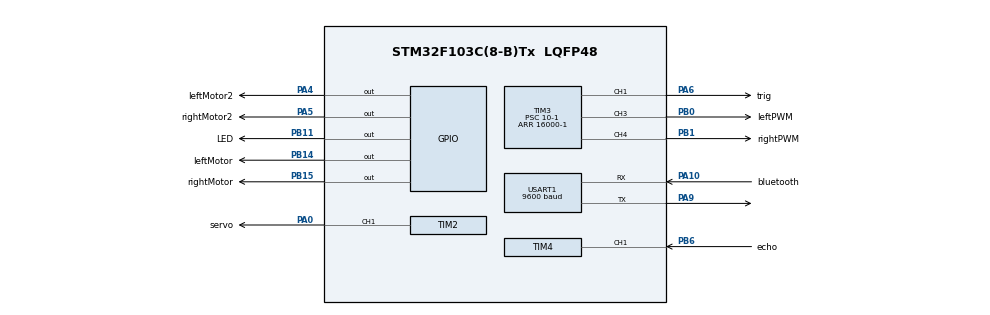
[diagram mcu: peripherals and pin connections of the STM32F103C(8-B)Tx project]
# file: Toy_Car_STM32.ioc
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FREERTOS.HEAP_NUMBER=1
FREERTOS.Tasks01=defaultTask,0,128,StartDefaultTask,Default,NULL,Dynamic,NULL,NULL;Task_Main,0,128,StartTaskMain,Default,NULL,Dynamic,NULL,NULL;Task_Blink,0,128,StartTaskBlink,Default,NULL,Dynamic,NULL,NULL;Task_Motion,0,128,StartTaskMotion,Default,NULL,Dynamic,NULL,NULL
FREERTOS.configUSE_NEWLIB_REENTRANT=1
Mcu.Family=STM32F1
Mcu.Name=STM32F103C(8-B)Tx
Mcu.Package=LQFP48
NVIC.PriorityGroup=NVIC_PRIORITYGROUP_4
PA0-WKUP.GPIO_Label=servo
PA0-WKUP.Signal=S_TIM2_CH1_ETR
PA10.GPIO_Label=bluetooth
PA10.Mode=Asynchronous
PA10.Signal=USART1_RX
PA13.Mode=Serial_Wire
PA13.Signal=SYS_JTMS-SWDIO
PA14.Mode=Serial_Wire
PA14.Signal=SYS_JTCK-SWCLK
PA4.GPIO_Label=leftMotor2
PA4.Signal=GPIO_Output
PA5.GPIO_Label=rightMotor2
PA5.Signal=GPIO_Output
PA6.GPIO_Label=trig
PA6.Signal=S_TIM3_CH1
PA9.Mode=Asynchronous
PA9.Signal=USART1_TX
PB0.GPIO_Label=leftPWM
PB0.Signal=S_TIM3_CH3
PB1.GPIO_Label=rightPWM
PB1.Signal=S_TIM3_CH4
PB11.GPIO_Label=LED
PB11.Signal=GPIO_Output
PB14.GPIO_Label=leftMotor
PB14.Signal=GPIO_Output
PB15.GPIO_Label=rightMotor
PB15.Signal=GPIO_Output
PB6.GPIO_Label=echo
PB6.Signal=S_TIM4_CH1
ProjectManager.HeapSize=0x200
ProjectManager.StackSize=0x400
ProjectManager.TargetToolchain=STM32CubeIDE
RCC.APB1Freq_Value=8000000
RCC.APB2Freq_Value=8000000
SH.S_TIM2_CH1_ETR.0=TIM2_CH1,PWM Generation1 CH1
SH.S_TIM3_CH1.0=TIM3_CH1,PWM Generation1 CH1
SH.S_TIM3_CH3.0=TIM3_CH3,PWM Generation3 CH3
SH.S_TIM3_CH4.0=TIM3_CH4,PWM Generation4 CH4
SH.S_TIM4_CH1.0=TIM4_CH1,PWM_Input_1
TIM2.AutoReloadPreload=TIM_AUTORELOAD_PRELOAD_ENABLE
TIM2.Channel-PWM\ Generation1\ CH1=TIM_CHANNEL_1
TIM2.Period=16000-1
TIM2.Prescaler=10-1
TIM2.Pulse-PWM\ Generation1\ CH1=MID_POS
TIM3.AutoReloadPreload=TIM_AUTORELOAD_PRELOAD_ENABLE
TIM3.Channel-PWM\ Generation1\ CH1=TIM_CHANNEL_1
TIM3.Channel-PWM\ Generation3\ CH3=TIM_CHANNEL_3
TIM3.Channel-PWM\ Generation4\ CH4=TIM_CHANNEL_4
TIM3.Period=16000-1
TIM3.Prescaler=10-1
TIM3.Pulse-PWM\ Generation1\ CH1=12
TIM3.Pulse-PWM\ Generation3\ CH3=NO_SPEED
TIM3.Pulse-PWM\ Generation4\ CH4=NO_SPEED
TIM4.AutoReloadPreload=TIM_AUTORELOAD_PRELOAD_ENABLE
TIM4.Period=8000-1
TIM4.Prescaler=200-1
USART1.BaudRate=9600
USART1.VirtualMode=VM_ASYNC
VP_FREERTOS_VS_CMSIS_V1.Mode=CMSIS_V1
board=custom

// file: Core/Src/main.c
/* USER CODE BEGIN Header */
/**
  ******************************************************************************
  * @file           : main.c
  * @brief          : Main program body
  ******************************************************************************
  * @attention
  *
  * Copyright (c) 2022 STMicroelectronics.
  * All rights reserved.
  *
  * This software is licensed under terms that can be found in the LICENSE file
  * in the root directory of this software component.
  * If no LICENSE file comes with this software, it is provided AS-IS.
  *
  ******************************************************************************
  */
/* USER CODE END Header */
#include "main.h"
#include "cmsis_os.h"

/* USER CODE BEGIN PTD */
enum ServoPos
{
  EXTREME_POS1 = 800, //1ms pulse
  MID_POS = 1200, //1.5ms pulse
  EXTREME_POS2 = 1600 //2ms pulse
};
enum AppCmd
{
  START = '0',
  STOP = '1'
};
enum MotorSpeed
{
  NO_SPEED = 0,
  SPEED_35PERCENT = 5600,
  SPEED_40PERCENT = 6400,
  SPEED_50PERCENT = 8000,
  SPEED_60PERCENT = 9600,
  SPEED_75PERCENT = 12000
};
/* USER CODE END PTD */

/* USER CODE BEGIN PD */
#define OBSTACLE_DIST	25 //centimeters
/* USER CODE END PD */

 TIM_HandleTypeDef htim2;
TIM_HandleTypeDef htim3;
TIM_HandleTypeDef htim4;

UART_HandleTypeDef huart1;

osThreadId defaultTaskHandle;
osThreadId Task_MainHandle;
osThreadId Task_BlinkHandle;
osThreadId Task_MotionHandle;

void SystemClock_Config(void);
static void MX_GPIO_Init(void);
static void MX_TIM2_Init(void);
static void MX_USART1_UART_Init(void);
static void MX_TIM3_Init(void);
static void MX_TIM4_Init(void);
void StartDefaultTask(void const * argument);
void StartTaskMain(void const * argument);
void StartTaskBlink(void const * argument);
void StartTaskMotion(void const * argument);

/* USER CODE BEGIN 0 */
char Bluetooth_Receive(void)
{
  char btData = '\0';
  if((huart1.Instance->SR & USART_SR_RXNE) == USART_SR_RXNE)
  {
     btData = huart1.Instance->DR;
  }
  return btData;
}

void Servo_SetPosition(uint16_t pos)
{
  __HAL_TIM_SET_COMPARE(&htim2,TIM_CHANNEL_1,pos);
}

void Move_Forward(void)
{
  __HAL_TIM_SET_COMPARE(&htim3,TIM_CHANNEL_3,SPEED_60PERCENT);
  __HAL_TIM_SET_COMPARE(&htim3,TIM_CHANNEL_4,SPEED_60PERCENT);
  HAL_GPIO_WritePin(leftMotor_GPIO_Port,leftMotor_Pin,GPIO_PIN_SET);
  HAL_GPIO_WritePin(rightMotor_GPIO_Port,rightMotor_Pin,GPIO_PIN_SET);
  HAL_GPIO_WritePin(leftMotor2_GPIO_Port,leftMotor2_Pin,GPIO_PIN_RESET);
  HAL_GPIO_WritePin(rightMotor2_GPIO_Port,rightMotor2_Pin,GPIO_PIN_RESET);
}

void Reverse(void)
{
  __HAL_TIM_SET_COMPARE(&htim3,TIM_CHANNEL_3,SPEED_60PERCENT);
  __HAL_TIM_SET_COMPARE(&htim3,TIM_CHANNEL_4,SPEED_60PERCENT);
  HAL_GPIO_WritePin(leftMotor_GPIO_Port,leftMotor_Pin,GPIO_PIN_RESET);
  HAL_GPIO_WritePin(rightMotor_GPIO_Port,rightMotor_Pin,GPIO_PIN_RESET);
  HAL_GPIO_WritePin(leftMotor2_GPIO_Port,leftMotor2_Pin,GPIO_PIN_SET);
  HAL_GPIO_WritePin(rightMotor2_GPIO_Port,rightMotor2_Pin,GPIO_PIN_SET);
}

void Turn_Right(void)
{
  __HAL_TIM_SET_COMPARE(&htim3,TIM_CHANNEL_3,SPEED_60PERCENT);
  __HAL_TIM_SET_COMPARE(&htim3,TIM_CHANNEL_4,SPEED_60PERCENT);
  HAL_GPIO_WritePin(leftMotor_GPIO_Port,leftMotor_Pin,GPIO_PIN_SET);
  HAL_GPIO_WritePin(rightMotor_GPIO_Port,rightMotor_Pin,GPIO_PIN_RESET);
  HAL_GPIO_WritePin(leftMotor2_GPIO_Port,leftMotor2_Pin,GPIO_PIN_RESET);
  HAL_GPIO_WritePin(rightMotor2_GPIO_Port,rightMotor2_Pin,GPIO_PIN_SET);
}

void Turn_Left(void)
{
  __HAL_TIM_SET_COMPARE(&htim3,TIM_CHANNEL_3,SPEED_60PERCENT);
  __HAL_TIM_SET_COMPARE(&htim3,TIM_CHANNEL_4,SPEED_60PERCENT);
  HAL_GPIO_WritePin(leftMotor_GPIO_Port,leftMotor_Pin,GPIO_PIN_RESET);
  HAL_GPIO_WritePin(rightMotor_GPIO_Port,rightMotor_Pin,GPIO_PIN_SET);
  HAL_GPIO_WritePin(leftMotor2_GPIO_Port,leftMotor2_Pin,GPIO_PIN_SET);
  HAL_GPIO_WritePin(rightMotor2_GPIO_Port,rightMotor2_Pin,GPIO_PIN_RESET);
}

void Stop(void)
{
  __HAL_TIM_SET_COMPARE(&htim3,TIM_CHANNEL_3,NO_SPEED);
  __HAL_TIM_SET_COMPARE(&htim3,TIM_CHANNEL_4,NO_SPEED);
  HAL_GPIO_WritePin(leftMotor_GPIO_Port,leftMotor_Pin,GPIO_PIN_RESET);
  HAL_GPIO_WritePin(rightMotor_GPIO_Port,rightMotor_Pin,GPIO_PIN_RESET);
  HAL_GPIO_WritePin(leftMotor2_GPIO_Port,leftMotor2_Pin,GPIO_PIN_RESET);
  HAL_GPIO_WritePin(rightMotor2_GPIO_Port,rightMotor2_Pin,GPIO_PIN_RESET);
}

uint32_t Sensor_GetDistance(void)
{
  const uint32_t sysClockFreq = 8000000;
  uint32_t distanceCM;
  if((htim4.Instance->SR & TIM_SR_CC2IF) == TIM_SR_CC2IF)
  {
    uint32_t pulseWidth = htim4.Instance->CCR2;
    distanceCM = (float)pulseWidth * htim4.Init.Prescaler * 1000000 / (58 * sysClockFreq);
  }
  return distanceCM;
}
/* USER CODE END 0 */

int main(void)
{

  /* MCU Configuration--------------------------------------------------------*/

  /* Reset of all peripherals, Initializes the Flash interface and the Systick. */
  HAL_Init();

  /* Configure the system clock */
  SystemClock_Config();

  /* Initialize all configured peripherals */
  MX_GPIO_Init();
  MX_TIM2_Init();
  MX_USART1_UART_Init();
  MX_TIM3_Init();
  MX_TIM4_Init();

  /* Create the thread(s) */
  /* definition and creation of defaultTask */
  osThreadDef(defaultTask, StartDefaultTask, osPriorityNormal, 0, 128);
  defaultTaskHandle = osThreadCreate(osThread(defaultTask), NULL);

  /* definition and creation of Task_Main */
  osThreadDef(Task_Main, StartTaskMain, osPriorityNormal, 0, 128);
  Task_MainHandle = osThreadCreate(osThread(Task_Main), NULL);

  /* definition and creation of Task_Blink */
  osThreadDef(Task_Blink, StartTaskBlink, osPriorityNormal, 0, 128);
  Task_BlinkHandle = osThreadCreate(osThread(Task_Blink), NULL);

  /* definition and creation of Task_Motion */
  osThreadDef(Task_Motion, StartTaskMotion, osPriorityNormal, 0, 128);
  Task_MotionHandle = osThreadCreate(osThread(Task_Motion), NULL);

  /* USER CODE BEGIN RTOS_THREADS */
  /* add threads, ... */
  osThreadSuspend(Task_MotionHandle);
  osThreadSuspend(Task_BlinkHandle);
  /* USER CODE END RTOS_THREADS */

  /* Start scheduler */
  osKernelStart();

  /* We should never get here as control is now taken by the scheduler */
  /* Infinite loop */
  while (1)
  {
  }
}

void SystemClock_Config(void)
{
  RCC_OscInitTypeDef RCC_OscInitStruct = {0};
  RCC_ClkInitTypeDef RCC_ClkInitStruct = {0};

  /** Initializes the RCC Oscillators according to the specified parameters
  * in the RCC_OscInitTypeDef structure.
  */
  RCC_OscInitStruct.OscillatorType = RCC_OSCILLATORTYPE_HSI;
  RCC_OscInitStruct.HSIState = RCC_HSI_ON;
  RCC_OscInitStruct.HSICalibrationValue = RCC_HSICALIBRATION_DEFAULT;
  RCC_OscInitStruct.PLL.PLLState = RCC_PLL_NONE;
  if (HAL_RCC_OscConfig(&RCC_OscInitStruct) != HAL_OK)
  {
    Error_Handler();
  }

  /** Initializes the CPU, AHB and APB buses clocks
  */
  RCC_ClkInitStruct.ClockType = RCC_CLOCKTYPE_HCLK|RCC_CLOCKTYPE_SYSCLK
                              |RCC_CLOCKTYPE_PCLK1|RCC_CLOCKTYPE_PCLK2;
  RCC_ClkInitStruct.SYSCLKSource = RCC_SYSCLKSOURCE_HSI;
  RCC_ClkInitStruct.AHBCLKDivider = RCC_SYSCLK_DIV1;
  RCC_ClkInitStruct.APB1CLKDivider = RCC_HCLK_DIV1;
  RCC_ClkInitStruct.APB2CLKDivider = RCC_HCLK_DIV1;

  if (HAL_RCC_ClockConfig(&RCC_ClkInitStruct, FLASH_LATENCY_0) != HAL_OK)
  {
    Error_Handler();
  }
}

static void MX_TIM2_Init(void)
{

  TIM_MasterConfigTypeDef sMasterConfig = {0};
  TIM_OC_InitTypeDef sConfigOC = {0};

  htim2.Instance = TIM2;
  htim2.Init.Prescaler = 10-1;
  htim2.Init.CounterMode = TIM_COUNTERMODE_UP;
  htim2.Init.Period = 16000-1;
  htim2.Init.ClockDivision = TIM_CLOCKDIVISION_DIV1;
  htim2.Init.AutoReloadPreload = TIM_AUTORELOAD_PRELOAD_ENABLE;
  if (HAL_TIM_PWM_Init(&htim2) != HAL_OK)
  {
    Error_Handler();
  }
  sMasterConfig.MasterOutputTrigger = TIM_TRGO_RESET;
  sMasterConfig.MasterSlaveMode = TIM_MASTERSLAVEMODE_DISABLE;
  if (HAL_TIMEx_MasterConfigSynchronization(&htim2, &sMasterConfig) != HAL_OK)
  {
    Error_Handler();
  }
  sConfigOC.OCMode = TIM_OCMODE_PWM1;
  sConfigOC.Pulse = MID_POS;
  sConfigOC.OCPolarity = TIM_OCPOLARITY_HIGH;
  sConfigOC.OCFastMode = TIM_OCFAST_DISABLE;
  if (HAL_TIM_PWM_ConfigChannel(&htim2, &sConfigOC, TIM_CHANNEL_1) != HAL_OK)
  {
    Error_Handler();
  }
  /* USER CODE BEGIN TIM2_Init 2 */
  HAL_TIM_PWM_Start(&htim2,TIM_CHANNEL_1);
  /* USER CODE END TIM2_Init 2 */
  HAL_TIM_MspPostInit(&htim2);

}

static void MX_TIM3_Init(void)
{

  TIM_MasterConfigTypeDef sMasterConfig = {0};
  TIM_OC_InitTypeDef sConfigOC = {0};

  /* USER CODE BEGIN TIM3_Init 1 */
  //Channel 1 pulse = 12 (15uS pulse width for sensor)
  /* USER CODE END TIM3_Init 1 */
  htim3.Instance = TIM3;
  htim3.Init.Prescaler = 10-1;
  htim3.Init.CounterMode = TIM_COUNTERMODE_UP;
  htim3.Init.Period = 16000-1;
  htim3.Init.ClockDivision = TIM_CLOCKDIVISION_DIV1;
  htim3.Init.AutoReloadPreload = TIM_AUTORELOAD_PRELOAD_ENABLE;
  if (HAL_TIM_PWM_Init(&htim3) != HAL_OK)
  {
    Error_Handler();
  }
  sMasterConfig.MasterOutputTrigger = TIM_TRGO_RESET;
  sMasterConfig.MasterSlaveMode = TIM_MASTERSLAVEMODE_DISABLE;
  if (HAL_TIMEx_MasterConfigSynchronization(&htim3, &sMasterConfig) != HAL_OK)
  {
    Error_Handler();
  }
  sConfigOC.OCMode = TIM_OCMODE_PWM1;
  sConfigOC.Pulse = 12;
  sConfigOC.OCPolarity = TIM_OCPOLARITY_HIGH;
  sConfigOC.OCFastMode = TIM_OCFAST_DISABLE;
  if (HAL_TIM_PWM_ConfigChannel(&htim3, &sConfigOC, TIM_CHANNEL_1) != HAL_OK)
  {
    Error_Handler();
  }
  sConfigOC.Pulse = NO_SPEED;
  if (HAL_TIM_PWM_ConfigChannel(&htim3, &sConfigOC, TIM_CHANNEL_3) != HAL_OK)
  {
    Error_Handler();
  }
  if (HAL_TIM_PWM_ConfigChannel(&htim3, &sConfigOC, TIM_CHANNEL_4) != HAL_OK)
  {
    Error_Handler();
  }
  /* USER CODE BEGIN TIM3_Init 2 */
  //PWM init for Trig pin
  HAL_TIM_PWM_Start(&htim3,TIM_CHANNEL_1);
  //PWM init for left and right motors
  HAL_TIM_PWM_Start(&htim3,TIM_CHANNEL_3);
  HAL_TIM_PWM_Start(&htim3,TIM_CHANNEL_4);
  /* USER CODE END TIM3_Init 2 */
  HAL_TIM_MspPostInit(&htim3);

}

static void MX_TIM4_Init(void)
{

  TIM_SlaveConfigTypeDef sSlaveConfig = {0};
  TIM_IC_InitTypeDef sConfigIC = {0};
  TIM_MasterConfigTypeDef sMasterConfig = {0};

  htim4.Instance = TIM4;
  htim4.Init.Prescaler = 200-1;
  htim4.Init.CounterMode = TIM_COUNTERMODE_UP;
  htim4.Init.Period = 8000-1;
  htim4.Init.ClockDivision = TIM_CLOCKDIVISION_DIV1;
  htim4.Init.AutoReloadPreload = TIM_AUTORELOAD_PRELOAD_ENABLE;
  if (HAL_TIM_IC_Init(&htim4) != HAL_OK)
  {
    Error_Handler();
  }
  sSlaveConfig.SlaveMode = TIM_SLAVEMODE_RESET;
  sSlaveConfig.InputTrigger = TIM_TS_TI1FP1;
  sSlaveConfig.TriggerPolarity = TIM_INPUTCHANNELPOLARITY_RISING;
  sSlaveConfig.TriggerPrescaler = TIM_ICPSC_DIV1;
  sSlaveConfig.TriggerFilter = 0;
  if (HAL_TIM_SlaveConfigSynchro(&htim4, &sSlaveConfig) != HAL_OK)
  {
    Error_Handler();
  }
  sConfigIC.ICPolarity = TIM_INPUTCHANNELPOLARITY_RISING;
  sConfigIC.ICSelection = TIM_ICSELECTION_DIRECTTI;
  sConfigIC.ICPrescaler = TIM_ICPSC_DIV1;
  sConfigIC.ICFilter = 0;
  if (HAL_TIM_IC_ConfigChannel(&htim4, &sConfigIC, TIM_CHANNEL_1) != HAL_OK)
  {
    Error_Handler();
  }
  sConfigIC.ICPolarity = TIM_INPUTCHANNELPOLARITY_FALLING;
  sConfigIC.ICSelection = TIM_ICSELECTION_INDIRECTTI;
  if (HAL_TIM_IC_ConfigChannel(&htim4, &sConfigIC, TIM_CHANNEL_2) != HAL_OK)
  {
    Error_Handler();
  }
  sMasterConfig.MasterOutputTrigger = TIM_TRGO_RESET;
  sMasterConfig.MasterSlaveMode = TIM_MASTERSLAVEMODE_DISABLE;
  if (HAL_TIMEx_MasterConfigSynchronization(&htim4, &sMasterConfig) != HAL_OK)
  {
    Error_Handler();
  }
  /* USER CODE BEGIN TIM4_Init 2 */
  //PWM input capture init for Echo pin
  HAL_TIM_IC_Start(&htim4,TIM_CHANNEL_1);
  HAL_TIM_IC_Start(&htim4,TIM_CHANNEL_2);
  /* USER CODE END TIM4_Init 2 */

}

static void MX_USART1_UART_Init(void)
{

  huart1.Instance = USART1;
  huart1.Init.BaudRate = 9600;
  huart1.Init.WordLength = UART_WORDLENGTH_8B;
  huart1.Init.StopBits = UART_STOPBITS_1;
  huart1.Init.Parity = UART_PARITY_NONE;
  huart1.Init.Mode = UART_MODE_TX_RX;
  huart1.Init.HwFlowCtl = UART_HWCONTROL_NONE;
  huart1.Init.OverSampling = UART_OVERSAMPLING_16;
  if (HAL_UART_Init(&huart1) != HAL_OK)
  {
    Error_Handler();
  }

}

static void MX_GPIO_Init(void)
{
  GPIO_InitTypeDef GPIO_InitStruct = {0};

  /* GPIO Ports Clock Enable */
  __HAL_RCC_GPIOA_CLK_ENABLE();
  __HAL_RCC_GPIOB_CLK_ENABLE();

  /*Configure GPIO pin Output Level */
  HAL_GPIO_WritePin(GPIOA, leftMotor2_Pin|rightMotor2_Pin, GPIO_PIN_RESET);

  /*Configure GPIO pin Output Level */
  HAL_GPIO_WritePin(GPIOB, LED_Pin|leftMotor_Pin|rightMotor_Pin, GPIO_PIN_RESET);

  /*Configure GPIO pins : leftMotor2_Pin rightMotor2_Pin */
  GPIO_InitStruct.Pin = leftMotor2_Pin|rightMotor2_Pin;
  GPIO_InitStruct.Mode = GPIO_MODE_OUTPUT_PP;
  GPIO_InitStruct.Pull = GPIO_NOPULL;
  GPIO_InitStruct.Speed = GPIO_SPEED_FREQ_LOW;
  HAL_GPIO_Init(GPIOA, &GPIO_InitStruct);

  /*Configure GPIO pins : LED_Pin leftMotor_Pin rightMotor_Pin */
  GPIO_InitStruct.Pin = LED_Pin|leftMotor_Pin|rightMotor_Pin;
  GPIO_InitStruct.Mode = GPIO_MODE_OUTPUT_PP;
  GPIO_InitStruct.Pull = GPIO_NOPULL;
  GPIO_InitStruct.Speed = GPIO_SPEED_FREQ_LOW;
  HAL_GPIO_Init(GPIOB, &GPIO_InitStruct);

}

void StartDefaultTask(void const * argument)
{
  while(1)
  {
  }
}

void StartTaskMain(void const * argument)
{
  /* USER CODE BEGIN StartTaskMain */
  /* Infinite loop */
  char appData = '\0';
  while(1)
  {
    appData = Bluetooth_Receive();
    switch(appData)
    {
      case START:
	osThreadResume(Task_MotionHandle);
	osThreadResume(Task_BlinkHandle);
	Move_Forward();
	break;
      case STOP:
	osThreadSuspend(Task_MotionHandle);
	osThreadSuspend(Task_BlinkHandle);
	HAL_GPIO_WritePin(LED_GPIO_Port,LED_Pin,GPIO_PIN_RESET);
	Stop();
	break;
    }
  }
  /* USER CODE END StartTaskMain */
}

void StartTaskBlink(void const * argument)
{
  /* USER CODE BEGIN StartTaskBlink */
  /* Infinite loop */
  while(1)
  {
    HAL_GPIO_TogglePin(LED_GPIO_Port,LED_Pin);
    osDelay(1000);
  }
  /* USER CODE END StartTaskBlink */
}

void StartTaskMotion(void const * argument)
{
  /* USER CODE BEGIN StartTaskMotion */
  /* Infinite loop */
  uint32_t midDistance = 0;
  uint32_t leftDistance = 0;
  uint32_t rightDistance = 0;
  while(1)
  {
    //Handle obstacle avoidance
    Move_Forward();
    midDistance = Sensor_GetDistance();
    if(midDistance <= OBSTACLE_DIST)
    {
      //Stop momentarily
      Stop();
      //check right, measure distance
      Servo_SetPosition(EXTREME_POS1);
      osDelay(700);
      rightDistance = Sensor_GetDistance();
      //check left, measure distance
      Servo_SetPosition(EXTREME_POS2);
      osDelay(700);
      leftDistance = Sensor_GetDistance();
      //Reverse a bit
      Reverse();
      osDelay(350);
      //Follow path that is free
      if(leftDistance > rightDistance)
      {
	Turn_Left();
      }
      else
      {
	Turn_Right();
      }
      Servo_SetPosition(MID_POS);
      osDelay(250);
    }
  }
  /* USER CODE END StartTaskMotion */
}

void Error_Handler(void)
{
  __disable_irq();
  while (1)
  {
  }
}
